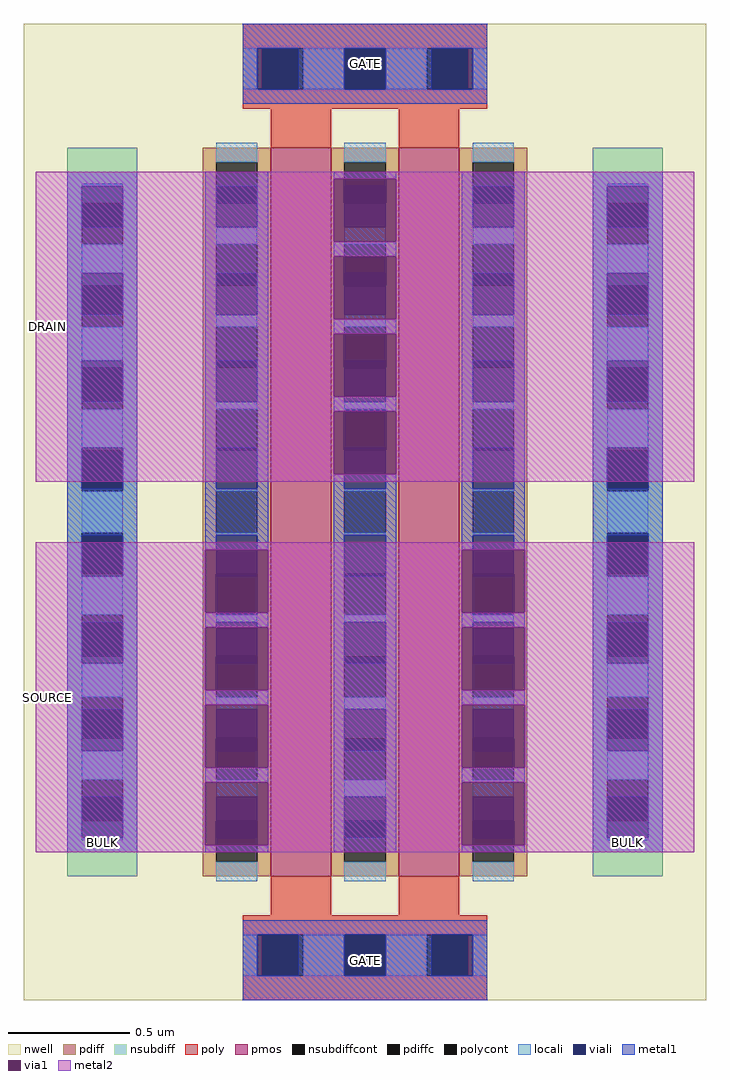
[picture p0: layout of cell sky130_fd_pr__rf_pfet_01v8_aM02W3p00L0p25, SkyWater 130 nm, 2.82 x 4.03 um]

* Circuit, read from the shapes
.subckt sky130_fd_pr__rf_pfet_01v8_aM02W3p00L0p25 BULK DRAIN GATE SOURCE
XM1 DRAIN GATE SOURCE BULK sky130_fd_pr__pfet_01v8 w=3.01 l=0.25 m=2
.ends

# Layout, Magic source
magic
tech sky130A
magscale 1 2
<< nwell >>
rect 0 0 564 806
<< pmos >>
rect 204 102 254 704
rect 310 102 360 704
<< pdiff >>
rect 148 692 204 704
rect 148 658 159 692
rect 193 658 204 692
rect 148 624 204 658
rect 148 590 159 624
rect 193 590 204 624
rect 148 556 204 590
rect 148 522 159 556
rect 193 522 204 556
rect 148 488 204 522
rect 148 454 159 488
rect 193 454 204 488
rect 148 420 204 454
rect 148 386 159 420
rect 193 386 204 420
rect 148 352 204 386
rect 148 318 159 352
rect 193 318 204 352
rect 148 284 204 318
rect 148 250 159 284
rect 193 250 204 284
rect 148 216 204 250
rect 148 182 159 216
rect 193 182 204 216
rect 148 148 204 182
rect 148 114 159 148
rect 193 114 204 148
rect 148 102 204 114
rect 254 692 310 704
rect 254 658 265 692
rect 299 658 310 692
rect 254 624 310 658
rect 254 590 265 624
rect 299 590 310 624
rect 254 556 310 590
rect 254 522 265 556
rect 299 522 310 556
rect 254 488 310 522
rect 254 454 265 488
rect 299 454 310 488
rect 254 420 310 454
rect 254 386 265 420
rect 299 386 310 420
rect 254 352 310 386
rect 254 318 265 352
rect 299 318 310 352
rect 254 284 310 318
rect 254 250 265 284
rect 299 250 310 284
rect 254 216 310 250
rect 254 182 265 216
rect 299 182 310 216
rect 254 148 310 182
rect 254 114 265 148
rect 299 114 310 148
rect 254 102 310 114
rect 360 692 416 704
rect 360 658 371 692
rect 405 658 416 692
rect 360 624 416 658
rect 360 590 371 624
rect 405 590 416 624
rect 360 556 416 590
rect 360 522 371 556
rect 405 522 416 556
rect 360 488 416 522
rect 360 454 371 488
rect 405 454 416 488
rect 360 420 416 454
rect 360 386 371 420
rect 405 386 416 420
rect 360 352 416 386
rect 360 318 371 352
rect 405 318 416 352
rect 360 284 416 318
rect 360 250 371 284
rect 405 250 416 284
rect 360 216 416 250
rect 360 182 371 216
rect 405 182 416 216
rect 360 148 416 182
rect 360 114 371 148
rect 405 114 416 148
rect 360 102 416 114
<< pdiffc >>
rect 159 658 193 692
rect 159 590 193 624
rect 159 522 193 556
rect 159 454 193 488
rect 159 386 193 420
rect 159 318 193 352
rect 159 250 193 284
rect 159 182 193 216
rect 159 114 193 148
rect 265 658 299 692
rect 265 590 299 624
rect 265 522 299 556
rect 265 454 299 488
rect 265 386 299 420
rect 265 318 299 352
rect 265 250 299 284
rect 265 182 299 216
rect 265 114 299 148
rect 371 658 405 692
rect 371 590 405 624
rect 371 522 405 556
rect 371 454 405 488
rect 371 386 405 420
rect 371 318 405 352
rect 371 250 405 284
rect 371 182 405 216
rect 371 114 405 148
<< nsubdiff >>
rect 36 658 94 704
rect 36 624 48 658
rect 82 624 94 658
rect 36 590 94 624
rect 36 556 48 590
rect 82 556 94 590
rect 36 522 94 556
rect 36 488 48 522
rect 82 488 94 522
rect 36 454 94 488
rect 36 420 48 454
rect 82 420 94 454
rect 36 386 94 420
rect 36 352 48 386
rect 82 352 94 386
rect 36 318 94 352
rect 36 284 48 318
rect 82 284 94 318
rect 36 250 94 284
rect 36 216 48 250
rect 82 216 94 250
rect 36 182 94 216
rect 36 148 48 182
rect 82 148 94 182
rect 36 102 94 148
rect 470 658 528 704
rect 470 624 482 658
rect 516 624 528 658
rect 470 590 528 624
rect 470 556 482 590
rect 516 556 528 590
rect 470 522 528 556
rect 470 488 482 522
rect 516 488 528 522
rect 470 454 528 488
rect 470 420 482 454
rect 516 420 528 454
rect 470 386 528 420
rect 470 352 482 386
rect 516 352 528 386
rect 470 318 528 352
rect 470 284 482 318
rect 516 284 528 318
rect 470 250 528 284
rect 470 216 482 250
rect 516 216 528 250
rect 470 182 528 216
rect 470 148 482 182
rect 516 148 528 182
rect 470 102 528 148
<< nsubdiffcont >>
rect 48 624 82 658
rect 48 556 82 590
rect 48 488 82 522
rect 48 420 82 454
rect 48 352 82 386
rect 48 284 82 318
rect 48 216 82 250
rect 48 148 82 182
rect 482 624 516 658
rect 482 556 516 590
rect 482 488 516 522
rect 482 420 516 454
rect 482 352 516 386
rect 482 284 516 318
rect 482 216 516 250
rect 482 148 516 182
<< poly >>
rect 181 786 383 806
rect 181 752 197 786
rect 231 752 265 786
rect 299 752 333 786
rect 367 752 383 786
rect 181 736 383 752
rect 204 704 254 736
rect 310 704 360 736
rect 204 70 254 102
rect 310 70 360 102
rect 181 54 383 70
rect 181 20 197 54
rect 231 20 265 54
rect 299 20 333 54
rect 367 20 383 54
rect 181 0 383 20
<< polycont >>
rect 197 752 231 786
rect 265 752 299 786
rect 333 752 367 786
rect 197 20 231 54
rect 265 20 299 54
rect 333 20 367 54
<< locali >>
rect 181 752 193 786
rect 231 752 265 786
rect 299 752 333 786
rect 371 752 383 786
rect 159 692 193 708
rect 48 672 82 674
rect 48 600 82 624
rect 48 528 82 556
rect 48 456 82 488
rect 48 386 82 420
rect 48 318 82 350
rect 48 250 82 278
rect 48 182 82 206
rect 48 132 82 134
rect 159 624 193 638
rect 159 556 193 566
rect 159 488 193 494
rect 159 420 193 422
rect 159 384 193 386
rect 159 312 193 318
rect 159 240 193 250
rect 159 168 193 182
rect 159 98 193 114
rect 265 692 299 708
rect 265 624 299 638
rect 265 556 299 566
rect 265 488 299 494
rect 265 420 299 422
rect 265 384 299 386
rect 265 312 299 318
rect 265 240 299 250
rect 265 168 299 182
rect 265 98 299 114
rect 371 692 405 708
rect 371 624 405 638
rect 371 556 405 566
rect 371 488 405 494
rect 371 420 405 422
rect 371 384 405 386
rect 371 312 405 318
rect 371 240 405 250
rect 371 168 405 182
rect 482 672 516 674
rect 482 600 516 624
rect 482 528 516 556
rect 482 456 516 488
rect 482 386 516 420
rect 482 318 516 350
rect 482 250 516 278
rect 482 182 516 206
rect 482 132 516 134
rect 371 98 405 114
rect 181 20 193 54
rect 231 20 265 54
rect 299 20 333 54
rect 371 20 383 54
<< viali >>
rect 193 752 197 786
rect 197 752 227 786
rect 265 752 299 786
rect 337 752 367 786
rect 367 752 371 786
rect 48 658 82 672
rect 48 638 82 658
rect 48 590 82 600
rect 48 566 82 590
rect 48 522 82 528
rect 48 494 82 522
rect 48 454 82 456
rect 48 422 82 454
rect 48 352 82 384
rect 48 350 82 352
rect 48 284 82 312
rect 48 278 82 284
rect 48 216 82 240
rect 48 206 82 216
rect 48 148 82 168
rect 48 134 82 148
rect 159 658 193 672
rect 159 638 193 658
rect 159 590 193 600
rect 159 566 193 590
rect 159 522 193 528
rect 159 494 193 522
rect 159 454 193 456
rect 159 422 193 454
rect 159 352 193 384
rect 159 350 193 352
rect 159 284 193 312
rect 159 278 193 284
rect 159 216 193 240
rect 159 206 193 216
rect 159 148 193 168
rect 159 134 193 148
rect 265 658 299 672
rect 265 638 299 658
rect 265 590 299 600
rect 265 566 299 590
rect 265 522 299 528
rect 265 494 299 522
rect 265 454 299 456
rect 265 422 299 454
rect 265 352 299 384
rect 265 350 299 352
rect 265 284 299 312
rect 265 278 299 284
rect 265 216 299 240
rect 265 206 299 216
rect 265 148 299 168
rect 265 134 299 148
rect 371 658 405 672
rect 371 638 405 658
rect 371 590 405 600
rect 371 566 405 590
rect 371 522 405 528
rect 371 494 405 522
rect 371 454 405 456
rect 371 422 405 454
rect 371 352 405 384
rect 371 350 405 352
rect 371 284 405 312
rect 371 278 405 284
rect 371 216 405 240
rect 371 206 405 216
rect 371 148 405 168
rect 371 134 405 148
rect 482 658 516 672
rect 482 638 516 658
rect 482 590 516 600
rect 482 566 516 590
rect 482 522 516 528
rect 482 494 516 522
rect 482 454 516 456
rect 482 422 516 454
rect 482 352 516 384
rect 482 350 516 352
rect 482 284 516 312
rect 482 278 516 284
rect 482 216 516 240
rect 482 206 516 216
rect 482 148 516 168
rect 482 134 516 148
rect 193 20 197 54
rect 197 20 227 54
rect 265 20 299 54
rect 337 20 367 54
rect 367 20 371 54
<< metal1 >>
rect 181 786 383 806
rect 181 752 193 786
rect 227 752 265 786
rect 299 752 337 786
rect 371 752 383 786
rect 181 740 383 752
rect 36 672 94 684
rect 36 638 48 672
rect 82 638 94 672
rect 36 600 94 638
rect 36 566 48 600
rect 82 566 94 600
rect 36 528 94 566
rect 36 494 48 528
rect 82 494 94 528
rect 36 456 94 494
rect 36 422 48 456
rect 82 422 94 456
rect 36 384 94 422
rect 36 350 48 384
rect 82 350 94 384
rect 36 312 94 350
rect 36 278 48 312
rect 82 278 94 312
rect 36 240 94 278
rect 36 206 48 240
rect 82 206 94 240
rect 36 168 94 206
rect 36 134 48 168
rect 82 134 94 168
rect 36 122 94 134
rect 150 672 202 684
rect 150 638 159 672
rect 193 638 202 672
rect 150 600 202 638
rect 150 566 159 600
rect 193 566 202 600
rect 150 528 202 566
rect 150 494 159 528
rect 193 494 202 528
rect 150 456 202 494
rect 150 422 159 456
rect 193 422 202 456
rect 150 384 202 422
rect 150 372 159 384
rect 193 372 202 384
rect 150 312 202 320
rect 150 308 159 312
rect 193 308 202 312
rect 150 244 202 256
rect 150 180 202 192
rect 150 122 202 128
rect 256 678 308 684
rect 256 614 308 626
rect 256 550 308 562
rect 256 494 265 498
rect 299 494 308 498
rect 256 486 308 494
rect 256 422 265 434
rect 299 422 308 434
rect 256 384 308 422
rect 256 350 265 384
rect 299 350 308 384
rect 256 312 308 350
rect 256 278 265 312
rect 299 278 308 312
rect 256 240 308 278
rect 256 206 265 240
rect 299 206 308 240
rect 256 168 308 206
rect 256 134 265 168
rect 299 134 308 168
rect 256 122 308 134
rect 362 672 414 684
rect 362 638 371 672
rect 405 638 414 672
rect 362 600 414 638
rect 362 566 371 600
rect 405 566 414 600
rect 362 528 414 566
rect 362 494 371 528
rect 405 494 414 528
rect 362 456 414 494
rect 362 422 371 456
rect 405 422 414 456
rect 362 384 414 422
rect 362 372 371 384
rect 405 372 414 384
rect 362 312 414 320
rect 362 308 371 312
rect 405 308 414 312
rect 362 244 414 256
rect 362 180 414 192
rect 362 122 414 128
rect 470 672 528 684
rect 470 638 482 672
rect 516 638 528 672
rect 470 600 528 638
rect 470 566 482 600
rect 516 566 528 600
rect 470 528 528 566
rect 470 494 482 528
rect 516 494 528 528
rect 470 456 528 494
rect 470 422 482 456
rect 516 422 528 456
rect 470 384 528 422
rect 470 350 482 384
rect 516 350 528 384
rect 470 312 528 350
rect 470 278 482 312
rect 516 278 528 312
rect 470 240 528 278
rect 470 206 482 240
rect 516 206 528 240
rect 470 168 528 206
rect 470 134 482 168
rect 516 134 528 168
rect 470 122 528 134
rect 181 54 383 66
rect 181 20 193 54
rect 227 20 265 54
rect 299 20 337 54
rect 371 20 383 54
rect 181 0 383 20
<< via1 >>
rect 150 350 159 372
rect 159 350 193 372
rect 193 350 202 372
rect 150 320 202 350
rect 150 278 159 308
rect 159 278 193 308
rect 193 278 202 308
rect 150 256 202 278
rect 150 240 202 244
rect 150 206 159 240
rect 159 206 193 240
rect 193 206 202 240
rect 150 192 202 206
rect 150 168 202 180
rect 150 134 159 168
rect 159 134 193 168
rect 193 134 202 168
rect 150 128 202 134
rect 256 672 308 678
rect 256 638 265 672
rect 265 638 299 672
rect 299 638 308 672
rect 256 626 308 638
rect 256 600 308 614
rect 256 566 265 600
rect 265 566 299 600
rect 299 566 308 600
rect 256 562 308 566
rect 256 528 308 550
rect 256 498 265 528
rect 265 498 299 528
rect 299 498 308 528
rect 256 456 308 486
rect 256 434 265 456
rect 265 434 299 456
rect 299 434 308 456
rect 362 350 371 372
rect 371 350 405 372
rect 405 350 414 372
rect 362 320 414 350
rect 362 278 371 308
rect 371 278 405 308
rect 405 278 414 308
rect 362 256 414 278
rect 362 240 414 244
rect 362 206 371 240
rect 371 206 405 240
rect 405 206 414 240
rect 362 192 414 206
rect 362 168 414 180
rect 362 134 371 168
rect 371 134 405 168
rect 405 134 414 168
rect 362 128 414 134
<< metal2 >>
rect 10 678 554 684
rect 10 626 256 678
rect 308 626 554 678
rect 10 614 554 626
rect 10 562 256 614
rect 308 562 554 614
rect 10 550 554 562
rect 10 498 256 550
rect 308 498 554 550
rect 10 486 554 498
rect 10 434 256 486
rect 308 434 554 486
rect 10 428 554 434
rect 10 372 554 378
rect 10 320 150 372
rect 202 320 362 372
rect 414 320 554 372
rect 10 308 554 320
rect 10 256 150 308
rect 202 256 362 308
rect 414 256 554 308
rect 10 244 554 256
rect 10 192 150 244
rect 202 192 362 244
rect 414 192 554 244
rect 10 180 554 192
rect 10 128 150 180
rect 202 128 362 180
rect 414 128 554 180
rect 10 122 554 128
<< labels >>
flabel metal2 s 10 122 30 378 7 FreeSans 300 180 0 0 SOURCE
port 4 nsew
flabel metal2 s 10 428 30 684 7 FreeSans 300 180 0 0 DRAIN
port 2 nsew
flabel metal1 s 181 740 383 806 0 FreeSans 300 0 0 0 GATE
port 3 nsew
flabel metal1 s 181 0 383 66 0 FreeSans 300 0 0 0 GATE
port 3 nsew
flabel metal1 s 470 122 528 138 3 FreeSans 300 90 0 0 BULK
port 1 nsew
flabel metal1 s 36 122 94 138 3 FreeSans 300 90 0 0 BULK
port 1 nsew
<< properties >>
string GDS_FILE $PDKPATH/libs.ref/sky130_fd_pr/gds/sky130_fd_pr.gds
string GDS_END 9320414
string GDS_START 9309498
<< end >>
